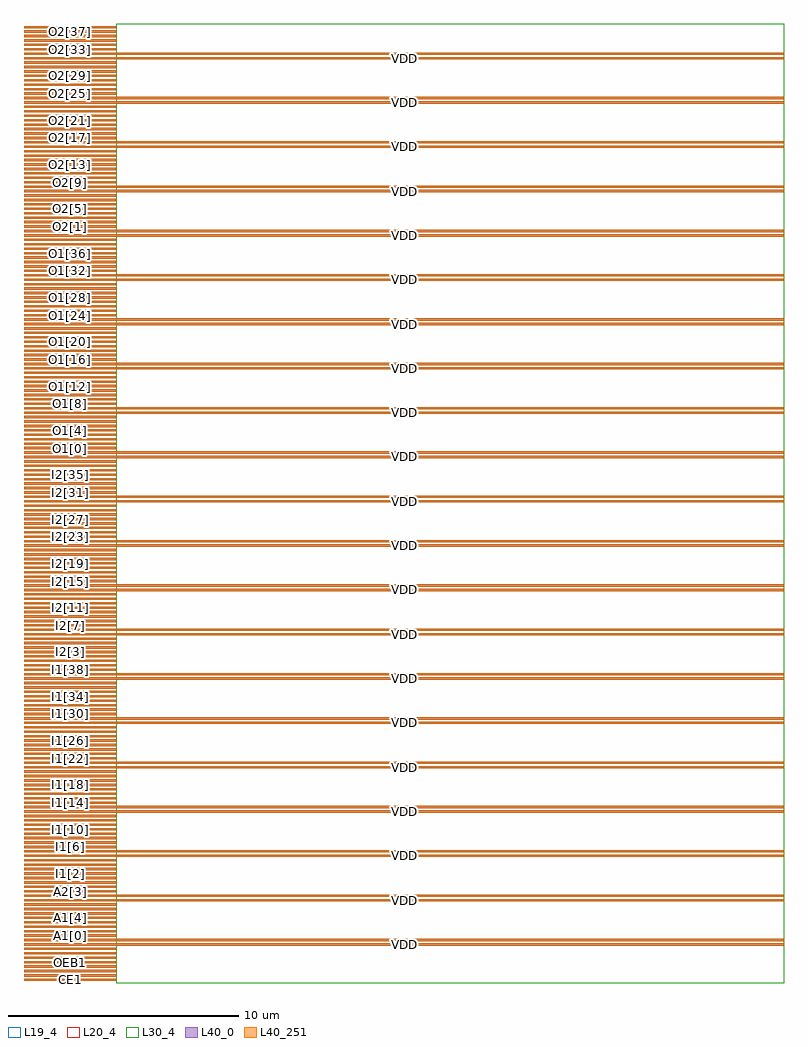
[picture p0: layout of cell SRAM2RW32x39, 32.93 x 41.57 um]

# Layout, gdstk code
import gdstk
lib = gdstk.Library(unit=1e-6, precision=1e-09)
def R(c, l, rs):  # rectangles x0, y0, x1, y1
    for r in rs: c.add(gdstk.rectangle(r[:2], r[2:], *l))
def A(c, l, x, y, w, h, nx, ny, dx, dy):  # array of equal rectangles
    R(c, l, [(x+i*dx, y+j*dy, x+i*dx+w, y+j*dy+h) for i in range(nx) for j in range(ny)])
L19_4 = (19, 4)
L20_4 = (20, 4)
L30_4 = (30, 4)
L40_0 = (40, 0)
L40_251 = (40, 251)

sram2rw32x39 = lib.new_cell('SRAM2RW32x39')
R(sram2rw32x39, L19_4, [(4,0,32.928,41.568)])
R(sram2rw32x39, L20_4, [(4,0,32.928,41.568)])
R(sram2rw32x39, L30_4, [(4,0,32.928,41.568)])
A(sram2rw32x39, L40_0, 0, 0.096, 4, 0.096, 1, 8, 0, 0.192)
A(sram2rw32x39, L40_0, 0, 2.016, 4, 0.096, 1, 8, 0, 0.192)
A(sram2rw32x39, L40_0, 0, 3.936, 4, 0.096, 1, 8, 0, 0.192)
A(sram2rw32x39, L40_0, 0, 5.856, 4, 0.096, 1, 8, 0, 0.192)
A(sram2rw32x39, L40_0, 0, 7.776, 4, 0.096, 1, 8, 0, 0.192)
A(sram2rw32x39, L40_0, 0, 9.696, 4, 0.096, 1, 8, 0, 0.192)
A(sram2rw32x39, L40_0, 0, 11.616, 4, 0.096, 1, 8, 0, 0.192)
A(sram2rw32x39, L40_0, 0, 13.536, 4, 0.096, 1, 8, 0, 0.192)
A(sram2rw32x39, L40_0, 0, 15.456, 4, 0.096, 1, 8, 0, 0.192)
A(sram2rw32x39, L40_0, 0, 17.376, 4, 0.096, 1, 8, 0, 0.192)
A(sram2rw32x39, L40_0, 0, 19.296, 4, 0.096, 1, 8, 0, 0.192)
A(sram2rw32x39, L40_0, 0, 21.216, 4, 0.096, 1, 8, 0, 0.192)
A(sram2rw32x39, L40_0, 0, 23.136, 4, 0.096, 1, 8, 0, 0.192)
A(sram2rw32x39, L40_0, 0, 25.056, 4, 0.096, 1, 8, 0, 0.192)
A(sram2rw32x39, L40_0, 0, 26.976, 4, 0.096, 1, 8, 0, 0.192)
A(sram2rw32x39, L40_0, 0, 28.896, 4, 0.096, 1, 8, 0, 0.192)
A(sram2rw32x39, L40_0, 0, 30.816, 4, 0.096, 1, 8, 0, 0.192)
A(sram2rw32x39, L40_0, 0, 32.736, 4, 0.096, 1, 8, 0, 0.192)
A(sram2rw32x39, L40_0, 0, 34.656, 4, 0.096, 1, 8, 0, 0.192)
A(sram2rw32x39, L40_0, 0, 36.576, 4, 0.096, 1, 8, 0, 0.192)
A(sram2rw32x39, L40_0, 0, 38.496, 4, 0.096, 1, 8, 0, 0.192)
A(sram2rw32x39, L40_0, 0, 40.416, 4, 0.096, 1, 6, 0, 0.192)
R(sram2rw32x39, L40_0, [(0,1.632,32.928,1.728), (0,1.824,32.928,1.92), (0,3.552,32.928,3.648), (0,3.744,32.928,3.84), (0,5.472,32.928,5.568), (0,5.664,32.928,5.76), (0,7.392,32.928,7.488), (0,7.584,32.928,7.68), (0,9.312,32.928,9.408), (0,9.504,32.928,9.6), (0,11.232,32.928,11.328), (0,11.424,32.928,11.52), (0,13.152,32.928,13.248), (0,13.344,32.928,13.44), (0,15.072,32.928,15.168), (0,15.264,32.928,15.36), (0,16.992,32.928,17.088), (0,17.184,32.928,17.28), (0,18.912,32.928,19.008), (0,19.104,32.928,19.2), (0,20.832,32.928,20.928), (0,21.024,32.928,21.12), (0,22.752,32.928,22.848), (0,22.944,32.928,23.04), (0,24.672,32.928,24.768), (0,24.864,32.928,24.96), (0,26.592,32.928,26.688), (0,26.784,32.928,26.88), (0,28.512,32.928,28.608), (0,28.704,32.928,28.8), (0,30.432,32.928,30.528), (0,30.624,32.928,30.72), (0,32.352,32.928,32.448), (0,32.544,32.928,32.64), (0,34.272,32.928,34.368), (0,34.464,32.928,34.56), (0,36.192,32.928,36.288), (0,36.384,32.928,36.48), (0,38.112,32.928,38.208), (0,38.304,32.928,38.4), (0,40.032,32.928,40.128), (0,40.224,32.928,40.32)])
A(sram2rw32x39, L40_251, 0, 0.096, 4, 0.096, 1, 8, 0, 0.192)
A(sram2rw32x39, L40_251, 0, 2.016, 4, 0.096, 1, 8, 0, 0.192)
A(sram2rw32x39, L40_251, 0, 3.936, 4, 0.096, 1, 8, 0, 0.192)
A(sram2rw32x39, L40_251, 0, 5.856, 4, 0.096, 1, 8, 0, 0.192)
A(sram2rw32x39, L40_251, 0, 7.776, 4, 0.096, 1, 8, 0, 0.192)
A(sram2rw32x39, L40_251, 0, 9.696, 4, 0.096, 1, 8, 0, 0.192)
A(sram2rw32x39, L40_251, 0, 11.616, 4, 0.096, 1, 8, 0, 0.192)
A(sram2rw32x39, L40_251, 0, 13.536, 4, 0.096, 1, 8, 0, 0.192)
A(sram2rw32x39, L40_251, 0, 15.456, 4, 0.096, 1, 8, 0, 0.192)
A(sram2rw32x39, L40_251, 0, 17.376, 4, 0.096, 1, 8, 0, 0.192)
A(sram2rw32x39, L40_251, 0, 19.296, 4, 0.096, 1, 8, 0, 0.192)
A(sram2rw32x39, L40_251, 0, 21.216, 4, 0.096, 1, 8, 0, 0.192)
A(sram2rw32x39, L40_251, 0, 23.136, 4, 0.096, 1, 8, 0, 0.192)
A(sram2rw32x39, L40_251, 0, 25.056, 4, 0.096, 1, 8, 0, 0.192)
A(sram2rw32x39, L40_251, 0, 26.976, 4, 0.096, 1, 8, 0, 0.192)
A(sram2rw32x39, L40_251, 0, 28.896, 4, 0.096, 1, 8, 0, 0.192)
A(sram2rw32x39, L40_251, 0, 30.816, 4, 0.096, 1, 8, 0, 0.192)
A(sram2rw32x39, L40_251, 0, 32.736, 4, 0.096, 1, 8, 0, 0.192)
A(sram2rw32x39, L40_251, 0, 34.656, 4, 0.096, 1, 8, 0, 0.192)
A(sram2rw32x39, L40_251, 0, 36.576, 4, 0.096, 1, 8, 0, 0.192)
A(sram2rw32x39, L40_251, 0, 38.496, 4, 0.096, 1, 8, 0, 0.192)
A(sram2rw32x39, L40_251, 0, 40.416, 4, 0.096, 1, 6, 0, 0.192)
R(sram2rw32x39, L40_251, [(0,1.632,32.928,1.728), (0,1.824,32.928,1.92), (0,3.552,32.928,3.648), (0,3.744,32.928,3.84), (0,5.472,32.928,5.568), (0,5.664,32.928,5.76), (0,7.392,32.928,7.488), (0,7.584,32.928,7.68), (0,9.312,32.928,9.408), (0,9.504,32.928,9.6), (0,11.232,32.928,11.328), (0,11.424,32.928,11.52), (0,13.152,32.928,13.248), (0,13.344,32.928,13.44), (0,15.072,32.928,15.168), (0,15.264,32.928,15.36), (0,16.992,32.928,17.088), (0,17.184,32.928,17.28), (0,18.912,32.928,19.008), (0,19.104,32.928,19.2), (0,20.832,32.928,20.928), (0,21.024,32.928,21.12), (0,22.752,32.928,22.848), (0,22.944,32.928,23.04), (0,24.672,32.928,24.768), (0,24.864,32.928,24.96), (0,26.592,32.928,26.688), (0,26.784,32.928,26.88), (0,28.512,32.928,28.608), (0,28.704,32.928,28.8), (0,30.432,32.928,30.528), (0,30.624,32.928,30.72), (0,32.352,32.928,32.448), (0,32.544,32.928,32.64), (0,34.272,32.928,34.368), (0,34.464,32.928,34.56), (0,36.192,32.928,36.288), (0,36.384,32.928,36.48), (0,38.112,32.928,38.208), (0,38.304,32.928,38.4), (0,40.032,32.928,40.128), (0,40.224,32.928,40.32)])
sram2rw32x39.add(gdstk.Label('CE1', (2,0.144), layer=40, texttype=0))
sram2rw32x39.add(gdstk.Label('CE2', (2,0.336), layer=40, texttype=0))
sram2rw32x39.add(gdstk.Label('WEB1', (2,0.528), layer=40, texttype=0))
sram2rw32x39.add(gdstk.Label('WEB2', (2,0.72), layer=40, texttype=0))
sram2rw32x39.add(gdstk.Label('OEB1', (2,0.912), layer=40, texttype=0))
sram2rw32x39.add(gdstk.Label('OEB2', (2,1.104), layer=40, texttype=0))
sram2rw32x39.add(gdstk.Label('CSB1', (2,1.296), layer=40, texttype=0))
sram2rw32x39.add(gdstk.Label('CSB2', (2,1.488), layer=40, texttype=0))
sram2rw32x39.add(gdstk.Label('A1[0]', (2,2.064), layer=40, texttype=0))
sram2rw32x39.add(gdstk.Label('A1[1]', (2,2.256), layer=40, texttype=0))
sram2rw32x39.add(gdstk.Label('A1[2]', (2,2.448), layer=40, texttype=0))
sram2rw32x39.add(gdstk.Label('A1[3]', (2,2.64), layer=40, texttype=0))
sram2rw32x39.add(gdstk.Label('A1[4]', (2,2.832), layer=40, texttype=0))
sram2rw32x39.add(gdstk.Label('A2[0]', (2,3.024), layer=40, texttype=0))
sram2rw32x39.add(gdstk.Label('A2[1]', (2,3.216), layer=40, texttype=0))
sram2rw32x39.add(gdstk.Label('A2[2]', (2,3.408), layer=40, texttype=0))
sram2rw32x39.add(gdstk.Label('A2[3]', (2,3.984), layer=40, texttype=0))
sram2rw32x39.add(gdstk.Label('A2[4]', (2,4.176), layer=40, texttype=0))
sram2rw32x39.add(gdstk.Label('I1[0]', (2,4.368), layer=40, texttype=0))
sram2rw32x39.add(gdstk.Label('I1[1]', (2,4.56), layer=40, texttype=0))
sram2rw32x39.add(gdstk.Label('I1[2]', (2,4.752), layer=40, texttype=0))
sram2rw32x39.add(gdstk.Label('I1[3]', (2,4.944), layer=40, texttype=0))
sram2rw32x39.add(gdstk.Label('I1[4]', (2,5.136), layer=40, texttype=0))
sram2rw32x39.add(gdstk.Label('I1[5]', (2,5.328), layer=40, texttype=0))
sram2rw32x39.add(gdstk.Label('I1[6]', (2,5.904), layer=40, texttype=0))
sram2rw32x39.add(gdstk.Label('I1[7]', (2,6.096), layer=40, texttype=0))
sram2rw32x39.add(gdstk.Label('I1[8]', (2,6.288), layer=40, texttype=0))
sram2rw32x39.add(gdstk.Label('I1[9]', (2,6.48), layer=40, texttype=0))
sram2rw32x39.add(gdstk.Label('I1[10]', (2,6.672), layer=40, texttype=0))
sram2rw32x39.add(gdstk.Label('I1[11]', (2,6.864), layer=40, texttype=0))
sram2rw32x39.add(gdstk.Label('I1[12]', (2,7.056), layer=40, texttype=0))
sram2rw32x39.add(gdstk.Label('I1[13]', (2,7.248), layer=40, texttype=0))
sram2rw32x39.add(gdstk.Label('I1[14]', (2,7.824), layer=40, texttype=0))
sram2rw32x39.add(gdstk.Label('I1[15]', (2,8.016), layer=40, texttype=0))
sram2rw32x39.add(gdstk.Label('I1[16]', (2,8.208), layer=40, texttype=0))
sram2rw32x39.add(gdstk.Label('I1[17]', (2,8.4), layer=40, texttype=0))
sram2rw32x39.add(gdstk.Label('I1[18]', (2,8.592), layer=40, texttype=0))
sram2rw32x39.add(gdstk.Label('I1[19]', (2,8.784), layer=40, texttype=0))
sram2rw32x39.add(gdstk.Label('I1[20]', (2,8.976), layer=40, texttype=0))
sram2rw32x39.add(gdstk.Label('I1[21]', (2,9.168), layer=40, texttype=0))
sram2rw32x39.add(gdstk.Label('I1[22]', (2,9.744), layer=40, texttype=0))
sram2rw32x39.add(gdstk.Label('I1[23]', (2,9.936), layer=40, texttype=0))
sram2rw32x39.add(gdstk.Label('I1[24]', (2,10.128), layer=40, texttype=0))
sram2rw32x39.add(gdstk.Label('I1[25]', (2,10.32), layer=40, texttype=0))
sram2rw32x39.add(gdstk.Label('I1[26]', (2,10.512), layer=40, texttype=0))
sram2rw32x39.add(gdstk.Label('I1[27]', (2,10.704), layer=40, texttype=0))
sram2rw32x39.add(gdstk.Label('I1[28]', (2,10.896), layer=40, texttype=0))
sram2rw32x39.add(gdstk.Label('I1[29]', (2,11.088), layer=40, texttype=0))
sram2rw32x39.add(gdstk.Label('I1[30]', (2,11.664), layer=40, texttype=0))
sram2rw32x39.add(gdstk.Label('I1[31]', (2,11.856), layer=40, texttype=0))
sram2rw32x39.add(gdstk.Label('I1[32]', (2,12.048), layer=40, texttype=0))
sram2rw32x39.add(gdstk.Label('I1[33]', (2,12.24), layer=40, texttype=0))
sram2rw32x39.add(gdstk.Label('I1[34]', (2,12.432), layer=40, texttype=0))
sram2rw32x39.add(gdstk.Label('I1[35]', (2,12.624), layer=40, texttype=0))
sram2rw32x39.add(gdstk.Label('I1[36]', (2,12.816), layer=40, texttype=0))
sram2rw32x39.add(gdstk.Label('I1[37]', (2,13.008), layer=40, texttype=0))
sram2rw32x39.add(gdstk.Label('I1[38]', (2,13.584), layer=40, texttype=0))
sram2rw32x39.add(gdstk.Label('I2[0]', (2,13.776), layer=40, texttype=0))
sram2rw32x39.add(gdstk.Label('I2[1]', (2,13.968), layer=40, texttype=0))
sram2rw32x39.add(gdstk.Label('I2[2]', (2,14.16), layer=40, texttype=0))
sram2rw32x39.add(gdstk.Label('I2[3]', (2,14.352), layer=40, texttype=0))
sram2rw32x39.add(gdstk.Label('I2[4]', (2,14.544), layer=40, texttype=0))
sram2rw32x39.add(gdstk.Label('I2[5]', (2,14.736), layer=40, texttype=0))
sram2rw32x39.add(gdstk.Label('I2[6]', (2,14.928), layer=40, texttype=0))
sram2rw32x39.add(gdstk.Label('I2[7]', (2,15.504), layer=40, texttype=0))
sram2rw32x39.add(gdstk.Label('I2[8]', (2,15.696), layer=40, texttype=0))
sram2rw32x39.add(gdstk.Label('I2[9]', (2,15.888), layer=40, texttype=0))
sram2rw32x39.add(gdstk.Label('I2[10]', (2,16.08), layer=40, texttype=0))
sram2rw32x39.add(gdstk.Label('I2[11]', (2,16.272), layer=40, texttype=0))
sram2rw32x39.add(gdstk.Label('I2[12]', (2,16.464), layer=40, texttype=0))
sram2rw32x39.add(gdstk.Label('I2[13]', (2,16.656), layer=40, texttype=0))
sram2rw32x39.add(gdstk.Label('I2[14]', (2,16.848), layer=40, texttype=0))
sram2rw32x39.add(gdstk.Label('I2[15]', (2,17.424), layer=40, texttype=0))
sram2rw32x39.add(gdstk.Label('I2[16]', (2,17.616), layer=40, texttype=0))
sram2rw32x39.add(gdstk.Label('I2[17]', (2,17.808), layer=40, texttype=0))
sram2rw32x39.add(gdstk.Label('I2[18]', (2,18), layer=40, texttype=0))
sram2rw32x39.add(gdstk.Label('I2[19]', (2,18.192), layer=40, texttype=0))
sram2rw32x39.add(gdstk.Label('I2[20]', (2,18.384), layer=40, texttype=0))
sram2rw32x39.add(gdstk.Label('I2[21]', (2,18.576), layer=40, texttype=0))
sram2rw32x39.add(gdstk.Label('I2[22]', (2,18.768), layer=40, texttype=0))
sram2rw32x39.add(gdstk.Label('I2[23]', (2,19.344), layer=40, texttype=0))
sram2rw32x39.add(gdstk.Label('I2[24]', (2,19.536), layer=40, texttype=0))
sram2rw32x39.add(gdstk.Label('I2[25]', (2,19.728), layer=40, texttype=0))
sram2rw32x39.add(gdstk.Label('I2[26]', (2,19.92), layer=40, texttype=0))
sram2rw32x39.add(gdstk.Label('I2[27]', (2,20.112), layer=40, texttype=0))
sram2rw32x39.add(gdstk.Label('I2[28]', (2,20.304), layer=40, texttype=0))
sram2rw32x39.add(gdstk.Label('I2[29]', (2,20.496), layer=40, texttype=0))
sram2rw32x39.add(gdstk.Label('I2[30]', (2,20.688), layer=40, texttype=0))
sram2rw32x39.add(gdstk.Label('I2[31]', (2,21.264), layer=40, texttype=0))
sram2rw32x39.add(gdstk.Label('I2[32]', (2,21.456), layer=40, texttype=0))
sram2rw32x39.add(gdstk.Label('I2[33]', (2,21.648), layer=40, texttype=0))
sram2rw32x39.add(gdstk.Label('I2[34]', (2,21.84), layer=40, texttype=0))
sram2rw32x39.add(gdstk.Label('I2[35]', (2,22.032), layer=40, texttype=0))
sram2rw32x39.add(gdstk.Label('I2[36]', (2,22.224), layer=40, texttype=0))
sram2rw32x39.add(gdstk.Label('I2[37]', (2,22.416), layer=40, texttype=0))
sram2rw32x39.add(gdstk.Label('I2[38]', (2,22.608), layer=40, texttype=0))
sram2rw32x39.add(gdstk.Label('O1[0]', (2,23.184), layer=40, texttype=0))
sram2rw32x39.add(gdstk.Label('O1[1]', (2,23.376), layer=40, texttype=0))
sram2rw32x39.add(gdstk.Label('O1[2]', (2,23.568), layer=40, texttype=0))
sram2rw32x39.add(gdstk.Label('O1[3]', (2,23.76), layer=40, texttype=0))
sram2rw32x39.add(gdstk.Label('O1[4]', (2,23.952), layer=40, texttype=0))
sram2rw32x39.add(gdstk.Label('O1[5]', (2,24.144), layer=40, texttype=0))
sram2rw32x39.add(gdstk.Label('O1[6]', (2,24.336), layer=40, texttype=0))
sram2rw32x39.add(gdstk.Label('O1[7]', (2,24.528), layer=40, texttype=0))
sram2rw32x39.add(gdstk.Label('O1[8]', (2,25.104), layer=40, texttype=0))
sram2rw32x39.add(gdstk.Label('O1[9]', (2,25.296), layer=40, texttype=0))
sram2rw32x39.add(gdstk.Label('O1[10]', (2,25.488), layer=40, texttype=0))
sram2rw32x39.add(gdstk.Label('O1[11]', (2,25.68), layer=40, texttype=0))
sram2rw32x39.add(gdstk.Label('O1[12]', (2,25.872), layer=40, texttype=0))
sram2rw32x39.add(gdstk.Label('O1[13]', (2,26.064), layer=40, texttype=0))
sram2rw32x39.add(gdstk.Label('O1[14]', (2,26.256), layer=40, texttype=0))
sram2rw32x39.add(gdstk.Label('O1[15]', (2,26.448), layer=40, texttype=0))
sram2rw32x39.add(gdstk.Label('O1[16]', (2,27.024), layer=40, texttype=0))
sram2rw32x39.add(gdstk.Label('O1[17]', (2,27.216), layer=40, texttype=0))
sram2rw32x39.add(gdstk.Label('O1[18]', (2,27.408), layer=40, texttype=0))
sram2rw32x39.add(gdstk.Label('O1[19]', (2,27.6), layer=40, texttype=0))
sram2rw32x39.add(gdstk.Label('O1[20]', (2,27.792), layer=40, texttype=0))
sram2rw32x39.add(gdstk.Label('O1[21]', (2,27.984), layer=40, texttype=0))
sram2rw32x39.add(gdstk.Label('O1[22]', (2,28.176), layer=40, texttype=0))
sram2rw32x39.add(gdstk.Label('O1[23]', (2,28.368), layer=40, texttype=0))
sram2rw32x39.add(gdstk.Label('O1[24]', (2,28.944), layer=40, texttype=0))
sram2rw32x39.add(gdstk.Label('O1[25]', (2,29.136), layer=40, texttype=0))
sram2rw32x39.add(gdstk.Label('O1[26]', (2,29.328), layer=40, texttype=0))
sram2rw32x39.add(gdstk.Label('O1[27]', (2,29.52), layer=40, texttype=0))
sram2rw32x39.add(gdstk.Label('O1[28]', (2,29.712), layer=40, texttype=0))
sram2rw32x39.add(gdstk.Label('O1[29]', (2,29.904), layer=40, texttype=0))
sram2rw32x39.add(gdstk.Label('O1[30]', (2,30.096), layer=40, texttype=0))
sram2rw32x39.add(gdstk.Label('O1[31]', (2,30.288), layer=40, texttype=0))
sram2rw32x39.add(gdstk.Label('O1[32]', (2,30.864), layer=40, texttype=0))
sram2rw32x39.add(gdstk.Label('O1[33]', (2,31.056), layer=40, texttype=0))
sram2rw32x39.add(gdstk.Label('O1[34]', (2,31.248), layer=40, texttype=0))
sram2rw32x39.add(gdstk.Label('O1[35]', (2,31.44), layer=40, texttype=0))
sram2rw32x39.add(gdstk.Label('O1[36]', (2,31.632), layer=40, texttype=0))
sram2rw32x39.add(gdstk.Label('O1[37]', (2,31.824), layer=40, texttype=0))
sram2rw32x39.add(gdstk.Label('O1[38]', (2,32.016), layer=40, texttype=0))
sram2rw32x39.add(gdstk.Label('O2[0]', (2,32.208), layer=40, texttype=0))
sram2rw32x39.add(gdstk.Label('O2[1]', (2,32.784), layer=40, texttype=0))
sram2rw32x39.add(gdstk.Label('O2[2]', (2,32.976), layer=40, texttype=0))
sram2rw32x39.add(gdstk.Label('O2[3]', (2,33.168), layer=40, texttype=0))
sram2rw32x39.add(gdstk.Label('O2[4]', (2,33.36), layer=40, texttype=0))
sram2rw32x39.add(gdstk.Label('O2[5]', (2,33.552), layer=40, texttype=0))
sram2rw32x39.add(gdstk.Label('O2[6]', (2,33.744), layer=40, texttype=0))
sram2rw32x39.add(gdstk.Label('O2[7]', (2,33.936), layer=40, texttype=0))
sram2rw32x39.add(gdstk.Label('O2[8]', (2,34.128), layer=40, texttype=0))
sram2rw32x39.add(gdstk.Label('O2[9]', (2,34.704), layer=40, texttype=0))
sram2rw32x39.add(gdstk.Label('O2[10]', (2,34.896), layer=40, texttype=0))
sram2rw32x39.add(gdstk.Label('O2[11]', (2,35.088), layer=40, texttype=0))
sram2rw32x39.add(gdstk.Label('O2[12]', (2,35.28), layer=40, texttype=0))
sram2rw32x39.add(gdstk.Label('O2[13]', (2,35.472), layer=40, texttype=0))
sram2rw32x39.add(gdstk.Label('O2[14]', (2,35.664), layer=40, texttype=0))
sram2rw32x39.add(gdstk.Label('O2[15]', (2,35.856), layer=40, texttype=0))
sram2rw32x39.add(gdstk.Label('O2[16]', (2,36.048), layer=40, texttype=0))
sram2rw32x39.add(gdstk.Label('O2[17]', (2,36.624), layer=40, texttype=0))
sram2rw32x39.add(gdstk.Label('O2[18]', (2,36.816), layer=40, texttype=0))
sram2rw32x39.add(gdstk.Label('O2[19]', (2,37.008), layer=40, texttype=0))
sram2rw32x39.add(gdstk.Label('O2[20]', (2,37.2), layer=40, texttype=0))
sram2rw32x39.add(gdstk.Label('O2[21]', (2,37.392), layer=40, texttype=0))
sram2rw32x39.add(gdstk.Label('O2[22]', (2,37.584), layer=40, texttype=0))
sram2rw32x39.add(gdstk.Label('O2[23]', (2,37.776), layer=40, texttype=0))
sram2rw32x39.add(gdstk.Label('O2[24]', (2,37.968), layer=40, texttype=0))
sram2rw32x39.add(gdstk.Label('O2[25]', (2,38.544), layer=40, texttype=0))
sram2rw32x39.add(gdstk.Label('O2[26]', (2,38.736), layer=40, texttype=0))
sram2rw32x39.add(gdstk.Label('O2[27]', (2,38.928), layer=40, texttype=0))
sram2rw32x39.add(gdstk.Label('O2[28]', (2,39.12), layer=40, texttype=0))
sram2rw32x39.add(gdstk.Label('O2[29]', (2,39.312), layer=40, texttype=0))
sram2rw32x39.add(gdstk.Label('O2[30]', (2,39.504), layer=40, texttype=0))
sram2rw32x39.add(gdstk.Label('O2[31]', (2,39.696), layer=40, texttype=0))
sram2rw32x39.add(gdstk.Label('O2[32]', (2,39.888), layer=40, texttype=0))
sram2rw32x39.add(gdstk.Label('O2[33]', (2,40.464), layer=40, texttype=0))
sram2rw32x39.add(gdstk.Label('O2[34]', (2,40.656), layer=40, texttype=0))
sram2rw32x39.add(gdstk.Label('O2[35]', (2,40.848), layer=40, texttype=0))
sram2rw32x39.add(gdstk.Label('O2[36]', (2,41.04), layer=40, texttype=0))
sram2rw32x39.add(gdstk.Label('O2[37]', (2,41.232), layer=40, texttype=0))
sram2rw32x39.add(gdstk.Label('O2[38]', (2,41.424), layer=40, texttype=0))
sram2rw32x39.add(gdstk.Label('VDD', (16.464,1.68), layer=40, texttype=0))
sram2rw32x39.add(gdstk.Label('VDD', (16.464,3.6), layer=40, texttype=0))
sram2rw32x39.add(gdstk.Label('VDD', (16.464,5.52), layer=40, texttype=0))
sram2rw32x39.add(gdstk.Label('VDD', (16.464,7.44), layer=40, texttype=0))
sram2rw32x39.add(gdstk.Label('VDD', (16.464,9.36), layer=40, texttype=0))
sram2rw32x39.add(gdstk.Label('VDD', (16.464,11.28), layer=40, texttype=0))
sram2rw32x39.add(gdstk.Label('VDD', (16.464,13.2), layer=40, texttype=0))
sram2rw32x39.add(gdstk.Label('VDD', (16.464,15.12), layer=40, texttype=0))
sram2rw32x39.add(gdstk.Label('VDD', (16.464,17.04), layer=40, texttype=0))
sram2rw32x39.add(gdstk.Label('VDD', (16.464,18.96), layer=40, texttype=0))
sram2rw32x39.add(gdstk.Label('VDD', (16.464,20.88), layer=40, texttype=0))
sram2rw32x39.add(gdstk.Label('VDD', (16.464,22.8), layer=40, texttype=0))
sram2rw32x39.add(gdstk.Label('VDD', (16.464,24.72), layer=40, texttype=0))
sram2rw32x39.add(gdstk.Label('VDD', (16.464,26.64), layer=40, texttype=0))
sram2rw32x39.add(gdstk.Label('VDD', (16.464,28.56), layer=40, texttype=0))
sram2rw32x39.add(gdstk.Label('VDD', (16.464,30.48), layer=40, texttype=0))
sram2rw32x39.add(gdstk.Label('VDD', (16.464,32.4), layer=40, texttype=0))
sram2rw32x39.add(gdstk.Label('VDD', (16.464,34.32), layer=40, texttype=0))
sram2rw32x39.add(gdstk.Label('VDD', (16.464,36.24), layer=40, texttype=0))
sram2rw32x39.add(gdstk.Label('VDD', (16.464,38.16), layer=40, texttype=0))
sram2rw32x39.add(gdstk.Label('VDD', (16.464,40.08), layer=40, texttype=0))
sram2rw32x39.add(gdstk.Label('VSS', (16.464,1.872), layer=40, texttype=0))
sram2rw32x39.add(gdstk.Label('VSS', (16.464,3.792), layer=40, texttype=0))
sram2rw32x39.add(gdstk.Label('VSS', (16.464,5.712), layer=40, texttype=0))
sram2rw32x39.add(gdstk.Label('VSS', (16.464,7.632), layer=40, texttype=0))
sram2rw32x39.add(gdstk.Label('VSS', (16.464,9.552), layer=40, texttype=0))
sram2rw32x39.add(gdstk.Label('VSS', (16.464,11.472), layer=40, texttype=0))
sram2rw32x39.add(gdstk.Label('VSS', (16.464,13.392), layer=40, texttype=0))
sram2rw32x39.add(gdstk.Label('VSS', (16.464,15.312), layer=40, texttype=0))
sram2rw32x39.add(gdstk.Label('VSS', (16.464,17.232), layer=40, texttype=0))
sram2rw32x39.add(gdstk.Label('VSS', (16.464,19.152), layer=40, texttype=0))
sram2rw32x39.add(gdstk.Label('VSS', (16.464,21.072), layer=40, texttype=0))
sram2rw32x39.add(gdstk.Label('VSS', (16.464,22.992), layer=40, texttype=0))
sram2rw32x39.add(gdstk.Label('VSS', (16.464,24.912), layer=40, texttype=0))
sram2rw32x39.add(gdstk.Label('VSS', (16.464,26.832), layer=40, texttype=0))
sram2rw32x39.add(gdstk.Label('VSS', (16.464,28.752), layer=40, texttype=0))
sram2rw32x39.add(gdstk.Label('VSS', (16.464,30.672), layer=40, texttype=0))
sram2rw32x39.add(gdstk.Label('VSS', (16.464,32.592), layer=40, texttype=0))
sram2rw32x39.add(gdstk.Label('VSS', (16.464,34.512), layer=40, texttype=0))
sram2rw32x39.add(gdstk.Label('VSS', (16.464,36.432), layer=40, texttype=0))
sram2rw32x39.add(gdstk.Label('VSS', (16.464,38.352), layer=40, texttype=0))
sram2rw32x39.add(gdstk.Label('VSS', (16.464,40.272), layer=40, texttype=0))

lib.write_gds('SRAM2RW32x39.gds')
